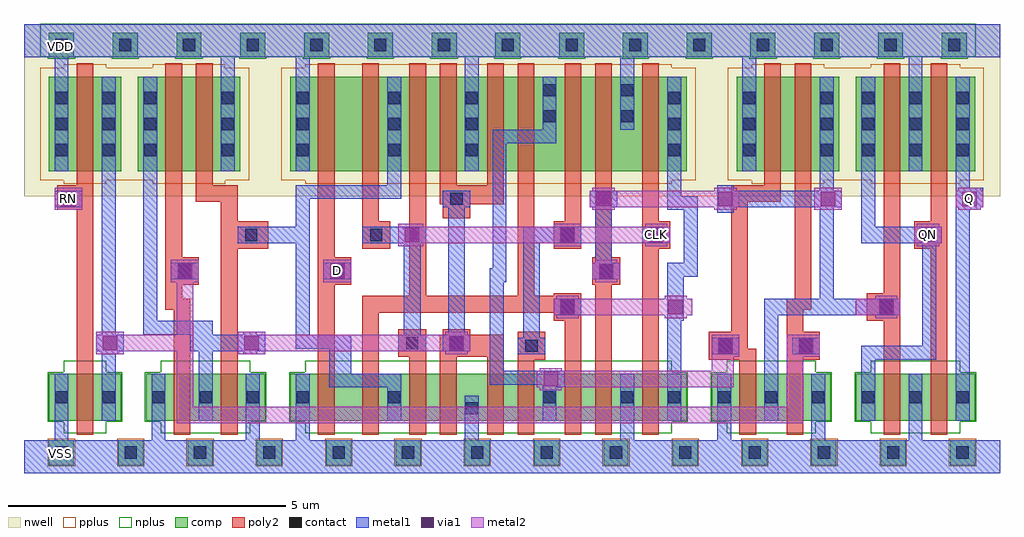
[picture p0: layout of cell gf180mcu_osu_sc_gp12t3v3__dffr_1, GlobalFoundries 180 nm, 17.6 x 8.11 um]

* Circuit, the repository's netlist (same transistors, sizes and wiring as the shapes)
* Copyright 2022 Google LLC
*
* Licensed under the Apache License, Version 2.0 (the "License");
* you may not use this file except in compliance with the License.
* You may obtain a copy of the License at
*
*      http://www.apache.org/licenses/LICENSE-2.0
*
* Unless required by applicable law or agreed to in writing, software
* distributed under the License is distributed on an "AS IS" BASIS,
* WITHOUT WARRANTIES OR CONDITIONS OF ANY KIND, either express or implied.
* See the License for the specific language governing permissions and
* limitations under the License.

.inc "/import/yukari1/lrburle/OSU_180/char/techfiles/design.hspice"
.lib "/import/yukari1/lrburle/OSU_180/char/techfiles/sm141064.hspice" typical

.GLOBAL VDD
.GLOBAL VSS

.option scale=0.05u

.subckt gf180mcu_osu_sc_gp12t3v3__dffr_1 D RN Q QN CLK
X0 VDD a_41_109 a_145_109 VDD pmos_3p3 w=34 l=6
X1 a_173_109 a_41_109 VDD VDD pmos_3p3 w=34 l=6
X2 a_122_14 CLK VDD VDD pmos_3p3 w=34 l=6
X3 a_122_14 CLK VSS VSS nmos_3p3 w=17 l=6
X4 VDD a_205_68 a_201_109 VDD pmos_3p3 w=34 l=6
X5 a_62_98 CLK a_112_109 VDD pmos_3p3 w=34 l=6
X6 a_145_109 a_122_14 a_62_98 VDD pmos_3p3 w=34 l=6
X7 a_145_19 CLK a_62_98 VSS nmos_3p3 w=17 l=6
X8 a_25_19 RN VDD VDD pmos_3p3 w=34 l=6
X9 a_41_109 a_25_19 VSS VSS nmos_3p3 w=17 l=6
X10 a_62_98 a_122_14 a_112_19 VSS nmos_3p3 w=17 l=6
X11 a_112_109 D VDD VDD pmos_3p3 w=34 l=6
X12 a_205_68 a_184_19 VSS VSS nmos_3p3 w=17 l=6
X13 a_25_19 RN VSS VSS nmos_3p3 w=17 l=6
X14 VDD a_205_68 QN VDD pmos_3p3 w=34 l=6
X15 Q QN VDD VDD pmos_3p3 w=34 l=6
X16 a_201_19 a_122_14 a_184_19 VSS nmos_3p3 w=17 l=6
X17 VSS a_205_68 a_201_19 VSS nmos_3p3 w=17 l=6
X18 Q QN VSS VSS nmos_3p3 w=17 l=6
X19 a_205_68 a_25_19 a_273_109 VDD pmos_3p3 w=34 l=6
X20 a_273_109 a_184_19 VDD VDD pmos_3p3 w=34 l=6
X21 VSS a_205_68 QN VSS nmos_3p3 w=17 l=6
X22 VSS a_62_98 a_41_109 VSS nmos_3p3 w=17 l=6
X23 VDD a_62_98 a_57_109 VDD pmos_3p3 w=34 l=6
X24 a_112_19 D VSS VSS nmos_3p3 w=17 l=6
X25 VSS a_25_19 a_205_68 VSS nmos_3p3 w=17 l=6
X26 a_57_109 a_25_19 a_41_109 VDD pmos_3p3 w=34 l=6
X27 a_173_19 a_41_109 VSS VSS nmos_3p3 w=17 l=6
X28 a_201_109 CLK a_184_19 VDD pmos_3p3 w=34 l=6
X29 a_184_19 a_122_14 a_173_109 VDD pmos_3p3 w=34 l=6
X30 VSS a_41_109 a_145_19 VSS nmos_3p3 w=17 l=6
X31 a_184_19 CLK a_173_19 VSS nmos_3p3 w=17 l=6
.ends

** hspice subcircuit dictionary

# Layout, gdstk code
import gdstk
lib = gdstk.Library(unit=1e-6, precision=1e-09)
def R(c, l, rs):  # rectangles x0, y0, x1, y1
    for r in rs: c.add(gdstk.rectangle(r[:2], r[2:], *l))
def A(c, l, x, y, w, h, nx, ny, dx, dy):  # array of equal rectangles
    R(c, l, [(x+i*dx, y+j*dy, x+i*dx+w, y+j*dy+h) for i in range(nx) for j in range(ny)])
nwell = (21, 0)
comp = (22, 0)
poly2 = (30, 0)
pplus = (31, 0)
nplus = (32, 0)
contact = (33, 0)
metal1 = (34, 0)
via1 = (35, 0)
metal2 = (36, 0)

gf180mcu_osu_sc_gp12t3v3 = lib.new_cell('gf180mcu_osu_sc_gp12t3v3__dffr_1')
R(gf180mcu_osu_sc_gp12t3v3, nwell, [(0,5,17.6,8.1)])
A(gf180mcu_osu_sc_gp12t3v3, comp, 0.45, 0.15, 0.45, 0.45, 14, 1, 1.25, 0)
A(gf180mcu_osu_sc_gp12t3v3, comp, 0.45, 7.5, 0.45, 0.45, 15, 1, 1.15, 0)
R(gf180mcu_osu_sc_gp12t3v3, comp, [(0.45,0.95,1.75,1.8), (2.2,0.95,4.35,1.8), (4.8,0.95,11.95,1.8), (12.4,0.95,14.55,1.8), (15,0.95,17.15,1.8), (0.45,5.45,1.75,7.15), (2.05,5.45,3.9,7.15), (4.8,5.45,11.95,7.15), (12.85,5.45,14.7,7.15), (15,5.45,17.15,7.15)])
R(gf180mcu_osu_sc_gp12t3v3, poly2, [(0.95,0.7,1.25,4.75), (2.7,0.7,3,2.95), (3.55,0.7,3.85,4.05), (5.3,0.7,5.6,3.4), (6.1,0.7,6.4,2.9), (6.95,0.7,7.25,2.1), (7.5,0.7,7.8,2.1), (8.35,0.7,8.65,2.1), (8.9,0.7,9.2,2.05), (9.75,0.7,10.05,2.75), (10.3,0.7,10.6,3.4), (11.15,0.7,11.45,4.05), (12.9,0.7,13.2,2.05), (13.75,0.7,14.05,2.05), (15.5,0.7,15.8,2.75), (16.35,0.7,16.65,4.05), (8.9,2.05,9.4,2.55), (12.35,2.05,13.2,2.25), (13.75,2.05,14.35,2.55), (6.75,2.1,7.25,2.6), (7.5,2.1,8.65,2.5), (12.35,2.25,13.05,2.55), (7.55,2.5,8.05,2.6), (12.75,2.55,13.05,4.9), (13.75,2.55,14.05,2.95), (9.55,2.75,10.05,2.9), (15.2,2.75,15.8,3.25), (6.1,2.9,10.05,3.2), (2.55,2.95,3,3.15), (13.75,2.95,14.2,3.15), (2.55,3.15,2.85,3.4), (13.9,3.15,14.2,7.4), (6.95,3.2,7.25,7.4), (8.9,3.2,9.2,7.4), (9.55,3.2,10.05,3.25), (15.5,3.25,15.8,7.4), (2.55,3.4,3.15,3.9), (5.3,3.4,5.9,3.9), (10.25,3.4,10.75,3.9), (2.55,3.9,2.85,7.4), (5.3,3.9,5.6,7.4), (10.3,3.9,10.6,7.4), (3.55,4.05,4.4,4.55), (6.1,4.05,6.6,4.55), (9.55,4.05,10.05,4.55), (11.15,4.05,11.65,4.55), (16.05,4.05,16.65,4.55), (3.55,4.55,3.85,4.9), (6.1,4.55,6.4,7.4), (9.75,4.55,10.05,7.4), (11.15,4.55,11.45,7.4), (16.35,4.55,16.65,7.4), (7.55,4.6,8.05,4.85), (0.6,4.75,1.25,5.2), (7.5,4.85,8.65,5.2), (3.1,4.9,3.85,5.2), (12.75,4.9,13.65,5.2), (0.95,5.2,1.25,7.4), (3.1,5.2,3.4,7.4), (7.5,5.2,7.8,7.4), (8.35,5.2,8.65,7.4), (13.35,5.2,13.65,7.4)])
A(gf180mcu_osu_sc_gp12t3v3, pplus, 0.43, 0.13, 0.49, 0.49, 14, 1, 1.25, 0)
R(gf180mcu_osu_sc_gp12t3v3, pplus, [(0.72,5.22,1.48,5.29), (2.32,5.22,3.63,5.29), (5.07,5.22,11.68,5.29), (13.12,5.22,14.43,5.29), (15.27,5.22,16.88,5.29), (0.29,5.29,4.06,7.31), (4.64,5.29,12.11,7.31), (12.69,5.29,17.31,7.31), (0.72,7.31,1.48,7.38), (2.32,7.31,3.63,7.38), (5.07,7.31,11.68,7.38), (13.12,7.31,14.43,7.38), (15.27,7.31,16.88,7.38)])
A(gf180mcu_osu_sc_gp12t3v3, nplus, 0.43, 7.48, 0.49, 0.03, 15, 1, 1.15, 0)
R(gf180mcu_osu_sc_gp12t3v3, nplus, [(0.72,0.72,1.48,0.93), (2.47,0.72,4.08,0.93), (5.07,0.72,11.68,0.93), (12.67,0.72,14.28,0.93), (15.27,0.72,16.88,0.93), (0.43,0.93,1.77,1.82), (2.18,0.93,4.37,1.82), (4.78,0.93,11.97,1.82), (12.38,0.93,14.57,1.82), (14.98,0.93,17.17,1.82), (0.72,1.82,1.48,2.03), (2.47,1.82,4.08,2.03), (5.07,1.82,11.68,2.03), (12.67,1.82,14.28,2.03), (15.27,1.82,16.88,2.03), (0.29,7.51,17.16,8.11)])
A(gf180mcu_osu_sc_gp12t3v3, contact, 0.565, 0.265, 0.22, 0.22, 14, 1, 1.25, 0)
A(gf180mcu_osu_sc_gp12t3v3, contact, 2.315, 1.265, 0.22, 0.22, 3, 1, 0.85, 0)
A(gf180mcu_osu_sc_gp12t3v3, contact, 12.515, 1.265, 0.22, 0.22, 3, 1, 0.85, 0)
A(gf180mcu_osu_sc_gp12t3v3, contact, 15.115, 1.265, 0.22, 0.22, 3, 2, 0.85, 4.455)
A(gf180mcu_osu_sc_gp12t3v3, contact, 0.565, 5.72, 0.22, 0.22, 1, 3, 0, 0.47)
A(gf180mcu_osu_sc_gp12t3v3, contact, 1.415, 5.72, 0.22, 0.22, 1, 3, 0, 0.47)
A(gf180mcu_osu_sc_gp12t3v3, contact, 2.165, 5.72, 0.22, 0.22, 1, 3, 0, 0.47)
A(gf180mcu_osu_sc_gp12t3v3, contact, 3.565, 5.72, 0.22, 0.22, 1, 3, 0, 0.47)
A(gf180mcu_osu_sc_gp12t3v3, contact, 4.915, 5.72, 0.22, 0.22, 1, 3, 0, 0.47)
A(gf180mcu_osu_sc_gp12t3v3, contact, 6.565, 5.72, 0.22, 0.22, 1, 3, 0, 0.47)
A(gf180mcu_osu_sc_gp12t3v3, contact, 7.965, 5.72, 0.22, 0.22, 1, 3, 0, 0.47)
A(gf180mcu_osu_sc_gp12t3v3, contact, 11.615, 5.72, 0.22, 0.22, 1, 3, 0, 0.47)
A(gf180mcu_osu_sc_gp12t3v3, contact, 12.965, 5.72, 0.22, 0.22, 1, 3, 0, 0.47)
A(gf180mcu_osu_sc_gp12t3v3, contact, 14.365, 5.72, 0.22, 0.22, 1, 3, 0, 0.47)
A(gf180mcu_osu_sc_gp12t3v3, contact, 15.115, 6.19, 0.22, 0.22, 3, 2, 0.85, 0.47)
A(gf180mcu_osu_sc_gp12t3v3, contact, 0.565, 7.615, 0.22, 0.22, 15, 1, 1.15, 0)
R(gf180mcu_osu_sc_gp12t3v3, contact, [(7.965,1.065,8.185,1.285), (0.565,1.265,0.785,1.485), (1.415,1.265,1.635,1.485), (4.915,1.265,5.135,1.485), (6.565,1.265,6.785,1.485), (9.365,1.265,9.585,1.485), (10.765,1.265,10.985,1.485), (11.615,1.265,11.835,1.485), (9.04,2.19,9.26,2.41), (12.54,2.19,12.76,2.41), (13.99,2.19,14.21,2.41), (6.89,2.24,7.11,2.46), (7.69,2.24,7.91,2.46), (9.69,2.89,9.91,3.11), (15.44,2.89,15.66,3.11), (2.79,3.54,3.01,3.76), (5.54,3.54,5.76,3.76), (10.39,3.54,10.61,3.76), (3.99,4.19,4.21,4.41), (6.24,4.19,6.46,4.41), (9.69,4.19,9.91,4.41), (11.29,4.19,11.51,4.41), (16.19,4.19,16.41,4.41), (7.69,4.84,7.91,5.06), (0.715,4.865,0.935,5.085), (9.365,6.33,9.585,6.55), (10.765,6.33,10.985,6.55), (9.365,6.8,9.585,7.02), (10.765,6.8,10.985,7.02)])
R(gf180mcu_osu_sc_gp12t3v3, metal1, [(0,0,17.6,0.6), (0.55,0.6,0.8,1.8), (2.3,0.6,2.55,1.8), (4,0.6,4.25,1.8), (4.9,0.6,5.15,1.8), (7.95,0.6,8.2,1.4), (10.75,0.6,11,1.8), (12.5,0.6,12.75,1.8), (14.2,0.6,14.45,1.8), (15.95,0.6,16.2,1.8), (1.4,0.95,1.65,2.15), (3.15,0.95,3.4,2.2), (6.55,0.95,6.8,1.55), (9.35,0.95,9.6,1.55), (11.6,0.95,11.85,2.75), (13.35,0.95,13.6,2.85), (15.1,0.95,15.35,2.05), (16.8,0.95,17.05,4.75), (5.5,1.55,6.8,1.8), (9.35,1.55,9.75,1.6), (8.4,1.6,9.75,1.85), (5.5,1.8,5.9,2.25), (8.4,1.85,8.65,3.45), (15.1,2.05,16.45,2.3), (1.4,2.15,1.7,2.2), (3.95,2.15,4.2,2.2), (8.9,2.15,9.4,2.45), (12.4,2.15,12.9,2.45), (13.85,2.15,14.35,2.45), (1.3,2.2,1.8,2.5), (3,2.2,4.35,2.5), (6.75,2.2,7.25,2.5), (7.55,2.2,8.05,2.5), (4.9,2.25,5.9,2.5), (16.2,2.3,16.45,4.15), (9,2.45,9.3,4.15), (1.4,2.5,1.65,7.15), (2.15,2.5,3.4,2.75), (3.95,2.5,4.2,2.55), (4.9,2.5,5.15,4.15), (6.85,2.5,7.15,4.15), (7.65,2.5,7.95,4.8), (2.15,2.75,2.4,7.15), (11.6,2.75,11.9,3.55), (9.55,2.85,10.05,3.15), (13.35,2.85,15.8,3.15), (14.35,3.15,14.6,4.8), (8.4,3.45,8.7,3.7), (2.65,3.5,3.15,3.8), (5.4,3.5,5.9,3.8), (10.25,3.5,10.75,3.8), (11.6,3.55,12.15,3.8), (8.45,3.7,8.7,5.95), (10.3,3.8,10.6,4.8), (11.9,3.8,12.15,4.75), (3.85,4.15,5.15,4.45), (6.1,4.15,7.25,4.45), (9,4.15,10.05,4.45), (11.15,4.15,11.65,4.45), (15.1,4.15,16.55,4.45), (4.9,4.45,5.15,4.95), (15.1,4.45,15.35,7.15), (12.5,4.7,12.8,4.8), (11.6,4.75,12.15,5), (16.8,4.75,17.25,4.8), (0.55,4.8,1.05,5.1), (7.55,4.8,8.05,5.1), (10.2,4.8,10.7,5.1), (12.5,4.8,14.75,5.1), (16.8,4.8,17.3,5.15), (4.9,4.95,6.8,5.2), (11.6,5,11.85,7.15), (12.5,5.1,12.8,5.2), (14.35,5.1,14.6,7.15), (16.8,5.15,17.05,7.15), (6.55,5.2,6.8,7.15), (0.55,5.45,0.8,7.5), (3.55,5.45,3.8,7.5), (4.9,5.45,5.15,7.5), (7.95,5.45,8.2,7.5), (12.95,5.45,13.2,7.5), (15.95,5.45,16.2,7.5), (8.45,5.95,9.6,6.2), (9.35,6.2,9.6,7.15), (10.75,6.2,11,7.5), (0,7.5,17.6,8.1)])
R(gf180mcu_osu_sc_gp12t3v3, via1, [(9.37,1.57,9.63,1.83), (12.52,2.17,12.78,2.43), (13.97,2.17,14.23,2.43), (1.42,2.22,1.68,2.48), (3.97,2.22,4.23,2.48), (7.67,2.22,7.93,2.48), (9.67,2.87,9.93,3.13), (11.62,2.87,11.88,3.13), (15.42,2.87,15.68,3.13), (2.77,3.52,3.03,3.78), (5.52,3.52,5.78,3.78), (10.37,3.52,10.63,3.78), (6.87,4.17,7.13,4.43), (9.67,4.17,9.93,4.43), (11.27,4.17,11.53,4.43), (16.17,4.17,16.43,4.43), (0.67,4.82,0.93,5.08), (10.32,4.82,10.58,5.08), (12.52,4.82,12.78,5.08), (14.37,4.82,14.63,5.08), (16.92,4.82,17.18,5.08)])
R(gf180mcu_osu_sc_gp12t3v3, metal2, [(2.75,0.9,14.05,1.2), (2.75,1.2,3.05,2.2), (13.75,1.2,14.05,2.1), (9.3,1.5,9.7,1.55), (9.25,1.55,12.8,1.85), (9.3,1.85,9.7,1.9), (12.4,1.85,12.8,2.1), (12.4,2.1,12.9,2.5), (13.75,2.1,14.35,2.5), (1.3,2.15,1.8,2.2), (3.85,2.15,4.35,2.2), (7.6,2.15,8,2.2), (1.3,2.2,3.05,2.5), (3.85,2.2,8.05,2.5), (1.3,2.5,1.8,2.55), (2.75,2.5,3.05,3.45), (3.85,2.5,4.35,2.55), (7.6,2.5,8,2.55), (9.6,2.8,10,2.85), (11.55,2.8,11.95,2.85), (15.35,2.8,15.75,2.85), (9.55,2.85,12.05,3.15), (15,2.85,15.8,3.15), (9.6,3.15,10,3.2), (11.55,3.15,11.95,3.2), (15.35,3.15,15.75,3.2), (2.65,3.45,3.15,3.85), (5.4,3.45,5.9,3.85), (10.3,3.45,10.7,3.5), (10.25,3.5,10.75,3.8), (10.3,3.8,10.7,3.85), (6.75,4.1,7.2,4.15), (9.55,4.1,10.05,4.15), (11.2,4.1,11.6,4.15), (16.1,4.1,16.5,4.15), (6.75,4.15,11.65,4.45), (16.05,4.15,16.55,4.45), (6.75,4.45,7.2,4.5), (9.55,4.45,10.05,4.5), (11.2,4.45,11.6,4.5), (16.1,4.45,16.5,4.5), (0.55,4.75,1.05,5.15), (10.25,4.75,10.65,4.8), (12.45,4.75,12.85,4.8), (14.25,4.75,14.75,5.15), (16.85,4.75,17.25,4.8), (10.2,4.8,12.9,5.1), (16.8,4.8,17.3,5.1), (10.25,5.1,10.65,5.15), (12.45,5.1,12.85,5.15), (16.85,5.1,17.25,5.15)])
gf180mcu_osu_sc_gp12t3v3.add(gdstk.Label('VDD', (0.65,7.7), layer=34, texttype=0))
gf180mcu_osu_sc_gp12t3v3.add(gdstk.Label('VSS', (0.65,0.35), layer=34, texttype=0))
gf180mcu_osu_sc_gp12t3v3.add(gdstk.Label('D', (5.65,3.65), layer=36, texttype=10))
gf180mcu_osu_sc_gp12t3v3.add(gdstk.Label('RN', (0.8,4.95), layer=36, texttype=10))
gf180mcu_osu_sc_gp12t3v3.add(gdstk.Label('Q', (17.05,4.95), layer=36, texttype=10))
gf180mcu_osu_sc_gp12t3v3.add(gdstk.Label('QN', (16.3,4.3), layer=36, texttype=10))
gf180mcu_osu_sc_gp12t3v3.add(gdstk.Label('CLK', (11.4,4.3), layer=36, texttype=10))

lib.write_gds('gf180mcu_osu_sc_gp12t3v3__dffr_1.gds')
